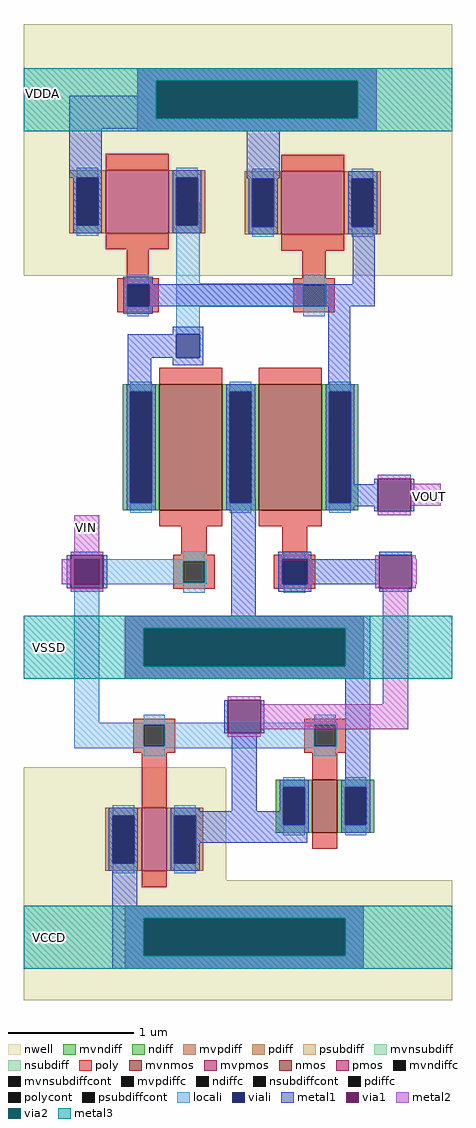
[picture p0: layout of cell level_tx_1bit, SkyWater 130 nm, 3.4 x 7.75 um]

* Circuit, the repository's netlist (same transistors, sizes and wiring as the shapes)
* NGSPICE file created from level_tx_1bit.ext - technology: sky130A

.subckt level_tx_1bit VIN VOUT VCCD VSSD VDDA
X0 a_n1423_1248# VOUT VDDA VDDA sky130_fd_pr__pfet_g5v0d10v5 ad=0.145 pd=1.58 as=0.145 ps=1.58 w=0.5 l=0.5
X1 VSSD VIN a_n1353_675# VSSD sky130_fd_pr__nfet_01v8 ad=0.122 pd=1.42 as=0.122 ps=1.42 w=0.42 l=0.2
X2 VSSD VIN a_n1423_1248# VSSD sky130_fd_pr__nfet_g5v0d10v5 ad=0.145 pd=1.29 as=0.29 ps=2.58 w=1 l=0.5
X3 VOUT a_n1423_1248# VDDA VDDA sky130_fd_pr__pfet_g5v0d10v5 ad=0.145 pd=1.58 as=0.145 ps=1.58 w=0.5 l=0.5
X4 a_n1353_675# VIN VCCD VCCD sky130_fd_pr__pfet_01v8 ad=0.145 pd=1.58 as=0.145 ps=1.58 w=0.5 l=0.2
X5 VOUT a_n1353_675# VSSD VSSD sky130_fd_pr__nfet_g5v0d10v5 ad=0.29 pd=2.58 as=0.145 ps=1.29 w=1 l=0.5
.ends

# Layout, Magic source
magic
tech sky130A
magscale 1 2
<< nwell >>
rect -1580 1620 -900 2020
rect -1580 837 -1260 840
rect -1580 660 -1259 837
rect -1580 470 -900 660
<< nmos >>
rect -1122 736 -1082 820
<< pmos >>
rect -1393 675 -1353 775
<< mvnmos >>
rect -1365 1248 -1265 1448
rect -1207 1248 -1107 1448
<< mvpmos >>
rect -1450 1688 -1350 1788
rect -1171 1686 -1071 1786
<< ndiff >>
rect -1180 808 -1122 820
rect -1180 748 -1168 808
rect -1134 748 -1122 808
rect -1180 736 -1122 748
rect -1082 808 -1024 820
rect -1082 748 -1070 808
rect -1036 748 -1024 808
rect -1082 736 -1024 748
<< pdiff >>
rect -1451 763 -1393 775
rect -1451 687 -1439 763
rect -1405 687 -1393 763
rect -1451 675 -1393 687
rect -1353 763 -1295 775
rect -1353 687 -1341 763
rect -1307 687 -1295 763
rect -1353 675 -1295 687
<< mvndiff >>
rect -1423 1436 -1365 1448
rect -1423 1260 -1411 1436
rect -1377 1260 -1365 1436
rect -1423 1248 -1365 1260
rect -1265 1436 -1207 1448
rect -1265 1260 -1253 1436
rect -1219 1260 -1207 1436
rect -1265 1248 -1207 1260
rect -1107 1436 -1049 1448
rect -1107 1260 -1095 1436
rect -1061 1260 -1049 1436
rect -1107 1248 -1049 1260
<< mvpdiff >>
rect -1508 1776 -1450 1788
rect -1508 1700 -1496 1776
rect -1462 1700 -1450 1776
rect -1508 1688 -1450 1700
rect -1350 1776 -1292 1788
rect -1350 1700 -1338 1776
rect -1304 1700 -1292 1776
rect -1350 1688 -1292 1700
rect -1229 1774 -1171 1786
rect -1229 1698 -1217 1774
rect -1183 1698 -1171 1774
rect -1229 1686 -1171 1698
rect -1071 1774 -1013 1786
rect -1071 1698 -1059 1774
rect -1025 1698 -1013 1774
rect -1071 1686 -1013 1698
<< ndiffc >>
rect -1168 748 -1134 808
rect -1070 748 -1036 808
<< pdiffc >>
rect -1439 687 -1405 763
rect -1341 687 -1307 763
<< mvndiffc >>
rect -1411 1260 -1377 1436
rect -1253 1260 -1219 1436
rect -1095 1260 -1061 1436
<< mvpdiffc >>
rect -1496 1700 -1462 1776
rect -1338 1700 -1304 1776
rect -1217 1698 -1183 1774
rect -1059 1698 -1025 1774
<< psubdiff >>
rect -1420 1060 -1040 1080
rect -1420 1000 -1390 1060
rect -1070 1000 -1040 1060
rect -1420 980 -1040 1000
<< nsubdiff >>
rect -1420 600 -1040 620
rect -1420 540 -1390 600
rect -1070 540 -1040 600
rect -1420 520 -1040 540
<< mvnsubdiff >>
rect -1400 1930 -1020 1950
rect -1400 1870 -1370 1930
rect -1050 1870 -1020 1930
rect -1400 1850 -1020 1870
<< psubdiffcont >>
rect -1390 1000 -1070 1060
<< nsubdiffcont >>
rect -1390 540 -1070 600
<< mvnsubdiffcont >>
rect -1370 1870 -1050 1930
<< poly >>
rect -1450 1788 -1350 1814
rect -1171 1786 -1071 1812
rect -1450 1662 -1350 1688
rect -1417 1616 -1382 1662
rect -1171 1660 -1071 1686
rect -1138 1616 -1101 1660
rect -1432 1606 -1366 1616
rect -1432 1572 -1416 1606
rect -1382 1572 -1366 1606
rect -1432 1562 -1366 1572
rect -1152 1606 -1086 1616
rect -1152 1572 -1136 1606
rect -1102 1572 -1086 1606
rect -1152 1562 -1086 1572
rect -1365 1448 -1265 1474
rect -1207 1448 -1107 1474
rect -1365 1222 -1265 1248
rect -1207 1222 -1107 1248
rect -1330 1177 -1290 1222
rect -1170 1177 -1130 1222
rect -1343 1167 -1277 1177
rect -1343 1133 -1327 1167
rect -1293 1133 -1277 1167
rect -1343 1123 -1277 1133
rect -1183 1167 -1117 1177
rect -1183 1133 -1167 1167
rect -1133 1133 -1117 1167
rect -1183 1123 -1117 1133
rect -1406 907 -1340 917
rect -1406 873 -1390 907
rect -1356 873 -1340 907
rect -1406 863 -1340 873
rect -1135 907 -1069 917
rect -1135 873 -1119 907
rect -1085 873 -1069 907
rect -1135 863 -1069 873
rect -1393 775 -1353 863
rect -1122 820 -1082 863
rect -1122 710 -1082 736
rect -1393 649 -1353 675
<< polycont >>
rect -1416 1572 -1382 1606
rect -1136 1572 -1102 1606
rect -1327 1133 -1293 1167
rect -1167 1133 -1133 1167
rect -1390 873 -1356 907
rect -1119 873 -1085 907
<< locali >>
rect -1400 1930 -1020 1950
rect -1400 1870 -1370 1930
rect -1050 1870 -1020 1930
rect -1400 1850 -1020 1870
rect -1496 1776 -1462 1792
rect -1496 1684 -1462 1700
rect -1338 1776 -1304 1792
rect -1217 1774 -1183 1790
rect -1304 1700 -1301 1738
rect -1416 1607 -1382 1622
rect -1338 1608 -1301 1700
rect -1217 1682 -1183 1698
rect -1059 1774 -1025 1790
rect -1059 1682 -1025 1698
rect -1136 1608 -1102 1622
rect -1338 1606 -1100 1608
rect -1338 1572 -1136 1606
rect -1102 1572 -1100 1606
rect -1416 1556 -1382 1572
rect -1338 1571 -1100 1572
rect -1338 1527 -1301 1571
rect -1136 1556 -1102 1571
rect -1411 1436 -1377 1452
rect -1411 1244 -1377 1260
rect -1253 1436 -1219 1452
rect -1253 1244 -1219 1260
rect -1095 1436 -1061 1452
rect -1095 1244 -1061 1260
rect -1327 1170 -1293 1183
rect -1167 1170 -1133 1183
rect -1460 1167 -1290 1170
rect -1460 1133 -1327 1167
rect -1293 1133 -1290 1167
rect -1460 1130 -1290 1133
rect -1500 910 -1460 1130
rect -1327 1117 -1293 1130
rect -1167 1117 -1133 1130
rect -1420 1060 -1040 1080
rect -1420 1000 -1390 1060
rect -1070 1000 -1040 1060
rect -1420 980 -1040 1000
rect -1390 910 -1356 923
rect -1119 910 -1085 923
rect -1500 907 -1082 910
rect -1500 873 -1390 907
rect -1356 873 -1119 907
rect -1085 873 -1082 907
rect -1500 870 -1082 873
rect -1390 857 -1356 870
rect -1119 857 -1085 870
rect -1168 808 -1134 824
rect -1439 763 -1405 779
rect -1439 671 -1405 687
rect -1341 763 -1307 779
rect -1168 732 -1134 748
rect -1070 808 -1036 824
rect -1070 732 -1036 748
rect -1341 671 -1307 687
rect -1420 600 -1040 620
rect -1420 540 -1390 600
rect -1070 540 -1040 600
rect -1420 520 -1040 540
<< viali >>
rect -1370 1870 -1050 1930
rect -1496 1700 -1462 1776
rect -1338 1700 -1304 1776
rect -1217 1698 -1183 1774
rect -1059 1698 -1025 1774
rect -1416 1606 -1381 1607
rect -1416 1572 -1382 1606
rect -1382 1572 -1381 1606
rect -1338 1490 -1301 1527
rect -1411 1260 -1377 1436
rect -1253 1260 -1219 1436
rect -1095 1260 -1061 1436
rect -1500 1130 -1460 1170
rect -1170 1167 -1130 1170
rect -1170 1133 -1167 1167
rect -1167 1133 -1133 1167
rect -1133 1133 -1130 1167
rect -1170 1130 -1130 1133
rect -1390 1000 -1070 1060
rect -1439 687 -1405 763
rect -1341 687 -1307 763
rect -1168 748 -1134 808
rect -1070 748 -1036 808
rect -1390 540 -1070 600
<< metal1 >>
rect -1400 1930 -1020 1950
rect -1400 1906 -1370 1930
rect -1508 1870 -1370 1906
rect -1050 1870 -1020 1930
rect -1508 1854 -1020 1870
rect -1508 1776 -1456 1854
rect -1400 1850 -1020 1854
rect -1502 1700 -1496 1776
rect -1462 1700 -1456 1776
rect -1502 1688 -1456 1700
rect -1344 1776 -1298 1788
rect -1344 1700 -1338 1776
rect -1304 1700 -1298 1776
rect -1226 1775 -1174 1850
rect -1344 1688 -1298 1700
rect -1223 1774 -1177 1775
rect -1223 1698 -1217 1774
rect -1183 1698 -1177 1774
rect -1223 1686 -1177 1698
rect -1065 1774 -1019 1786
rect -1065 1698 -1059 1774
rect -1025 1698 -1019 1774
rect -1065 1686 -1019 1698
rect -1422 1607 -1375 1619
rect -1058 1607 -1023 1686
rect -1422 1572 -1416 1607
rect -1381 1572 -1023 1607
rect -1422 1560 -1375 1572
rect -1344 1527 -1295 1539
rect -1415 1490 -1338 1527
rect -1301 1490 -1295 1527
rect -1415 1448 -1378 1490
rect -1344 1478 -1295 1490
rect -1097 1448 -1062 1572
rect -1417 1436 -1371 1448
rect -1417 1260 -1411 1436
rect -1377 1260 -1371 1436
rect -1417 1248 -1371 1260
rect -1259 1436 -1213 1448
rect -1259 1260 -1253 1436
rect -1219 1267 -1213 1436
rect -1101 1436 -1055 1448
rect -1219 1260 -1212 1267
rect -1259 1248 -1212 1260
rect -1101 1260 -1095 1436
rect -1061 1289 -1055 1436
rect -1024 1289 -1018 1298
rect -1061 1260 -1018 1289
rect -1101 1254 -1018 1260
rect -1101 1248 -1055 1254
rect -1506 1176 -1454 1182
rect -1512 1124 -1506 1176
rect -1454 1124 -1448 1176
rect -1506 1118 -1454 1124
rect -1251 1080 -1212 1248
rect -1024 1246 -1018 1254
rect -966 1246 -960 1298
rect -1176 1170 -1124 1182
rect -1016 1176 -964 1182
rect -1176 1130 -1170 1170
rect -1130 1130 -1016 1170
rect -1176 1118 -1124 1130
rect -1016 1118 -964 1124
rect -1420 1060 -1030 1080
rect -1420 1000 -1390 1060
rect -1070 1000 -1030 1060
rect -1420 980 -1030 1000
rect -1262 894 -1256 946
rect -1204 894 -1198 946
rect -1445 763 -1399 775
rect -1445 687 -1439 763
rect -1405 687 -1399 763
rect -1445 675 -1399 687
rect -1347 770 -1301 775
rect -1250 770 -1210 894
rect -1070 820 -1030 980
rect -1174 808 -1128 820
rect -1174 770 -1168 808
rect -1347 763 -1168 770
rect -1347 687 -1341 763
rect -1307 748 -1168 763
rect -1134 748 -1128 808
rect -1307 736 -1128 748
rect -1076 808 -1030 820
rect -1076 748 -1070 808
rect -1036 748 -1030 808
rect -1076 736 -1030 748
rect -1307 720 -1130 736
rect -1307 687 -1301 720
rect -1347 675 -1301 687
rect -1440 620 -1400 675
rect -1440 600 -1040 620
rect -1440 540 -1390 600
rect -1070 540 -1040 600
rect -1440 520 -1040 540
<< via1 >>
rect -1370 1870 -1050 1930
rect -1506 1170 -1454 1176
rect -1506 1130 -1500 1170
rect -1500 1130 -1460 1170
rect -1460 1130 -1454 1170
rect -1506 1124 -1454 1130
rect -1018 1246 -966 1298
rect -1016 1124 -964 1176
rect -1390 1000 -1070 1060
rect -1256 894 -1204 946
rect -1390 540 -1070 600
<< metal2 >>
rect -1400 1930 -1020 1950
rect -1400 1870 -1370 1930
rect -1050 1870 -1020 1930
rect -1400 1850 -1020 1870
rect -1018 1298 -966 1304
rect -966 1255 -918 1290
rect -1018 1240 -966 1246
rect -1500 1182 -1460 1240
rect -1506 1176 -1454 1182
rect -1520 1130 -1506 1170
rect -1022 1124 -1016 1176
rect -964 1170 -958 1176
rect -964 1130 -956 1170
rect -964 1124 -958 1130
rect -1506 1118 -1454 1124
rect -1420 1060 -1040 1080
rect -1420 1000 -1390 1060
rect -1070 1000 -1040 1060
rect -1420 980 -1040 1000
rect -1256 946 -1204 952
rect -1010 940 -970 1124
rect -1204 900 -970 940
rect -1256 888 -1204 894
rect -1420 600 -1040 620
rect -1420 540 -1390 600
rect -1070 540 -1040 600
rect -1420 520 -1040 540
<< via2 >>
rect -1370 1870 -1050 1930
rect -1390 1000 -1070 1060
rect -1390 540 -1070 600
<< metal3 >>
rect -1580 1930 -900 1950
rect -1580 1870 -1370 1930
rect -1050 1870 -900 1930
rect -1580 1850 -900 1870
rect -1580 1060 -900 1080
rect -1580 1000 -1390 1060
rect -1070 1000 -900 1060
rect -1580 980 -900 1000
rect -1580 600 -900 620
rect -1580 540 -1390 600
rect -1070 540 -900 600
rect -1580 520 -900 540
<< labels >>
flabel metal3 s -1540 570 -1540 570 0 FreeSans 640 0 0 0 VCCD
flabel metal3 s -1540 1030 -1540 1030 0 FreeSans 640 0 0 0 VSSD
flabel metal3 s -1550 1910 -1550 1910 0 FreeSans 640 0 0 0 VDDA
flabel metal2 s -1480 1220 -1480 1220 0 FreeSans 640 0 0 0 VIN
flabel metal2 s -936 1270 -936 1270 0 FreeSans 640 0 0 0 VOUT
<< end >>
